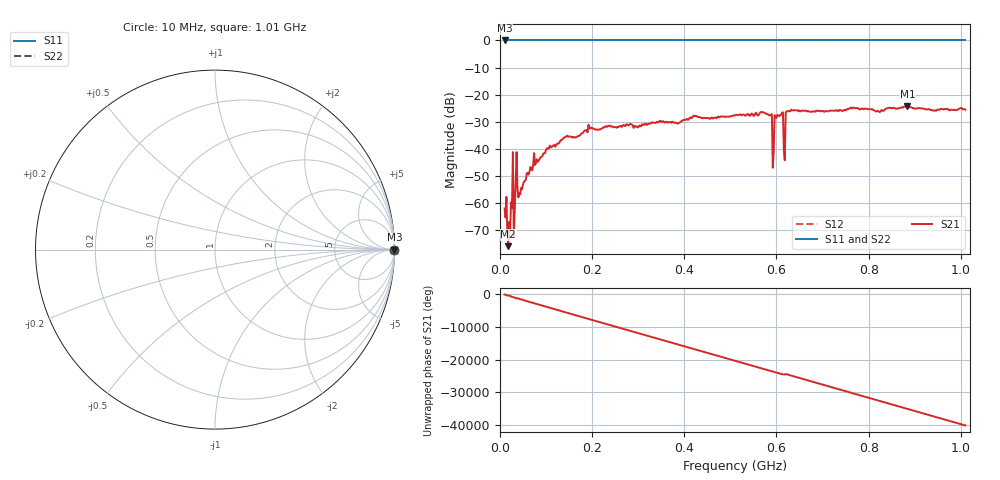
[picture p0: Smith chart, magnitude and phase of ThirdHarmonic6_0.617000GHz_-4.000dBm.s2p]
! 8/15/2025 8:15:15 PM
! C:\ANRITSUVNA\TEMP\TEMP.S2P
! CHANNEL.1
! TR.MEASUREMENT
! RAW.DATA
! RF.CORRECTION.OFF
! AVERAGING.OFF
! IF.BANDWIDTH: 5KHZ
! SWEEPTYPE:  FREQ.SWEEP(Linear)
! Reference Plane Port Info
! PORT:  PORT1  PORT2
! DISTANCE:  0  m  0  m
! TIME:  0  s  0  s
! PHASE.OFFSET:  0  deg.  0  deg.
! LOSS:  0  dB  0  dB
! REF.LOSS:  0  dB  0  dB
! REF.FREQ:  0  Hz  0  Hz
! Power Info
! POWER:  -20  dBm  -20  dBm
! EFF.POWER:  -20  dBm  -20  dBm
! SOURCE.ATTEN:  0  dB  0  dB
! TEST.ATTEN:  0  dB  0  dB
# GHZ S RI R 50.0
! FREQ.GHZ  S11RE  S11IM  S21RE  S21IM  S12RE  S12IM  S22RE  S22IM
!; PortSelection: Port_12
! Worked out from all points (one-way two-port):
!   501 points, 10 MHz to 1.01 GHz, reference 50 ohm
!   highest |S21| = -24.30 dB at 884 MHz (marker M1); lowest = -75.8 dB at 18 MHz (marker M2)
!   lowest |S11| = 0.0 dB at 10 MHz (marker M3)
!   |S11| at or under -10 dB: nowhere
!   |S22| runs from 0.0 to 0.0 dB; largest |S21 - S12| = 1.1
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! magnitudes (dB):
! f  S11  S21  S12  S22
! 10 MHz  0.0  -61.9  0.0  0.0
! 18 MHz  0.0  -75.8  0.0  0.0
! 22 MHz  0.0  -69.9  0.0  0.0
! 24 MHz  0.0  -59.6  0.0  0.0
! 38 MHz  0.0  -54.5  0.0  0.0
! 44 MHz  0.0  -56.7  0.0  0.0
! 104 MHz  0.0  -39.9  0.0  0.0
! 178 MHz  0.0  -34.2  0.0  0.0
! 344 MHz  0.0  -30.2  0.0  0.0
! 510 MHz  0.0  -27.6  0.0  0.0
! 586 MHz  0.0  -27.6  0.0  0.0
! 590 MHz  0.0  -27.2  0.0  0.0
! 596 MHz  0.0  -27.6  0.0  0.0
! 600 MHz  0.0  -28.5  0.0  0.0
! 610 MHz  0.0  -27.4  0.0  0.0
! 614 MHz  0.0  -26.5  0.0  0.0
! 620 MHz  0.0  -26.5  0.0  0.0
! 624 MHz  0.0  -26.1  0.0  0.0
! 678 MHz  0.0  -26.3  0.0  0.0
! 844 MHz  0.0  -24.8  0.0  0.0
! 884 MHz  0.0  -24.3  0.0  0.0
! 1.01 GHz  0.0  -25.5  0.0  0.0
